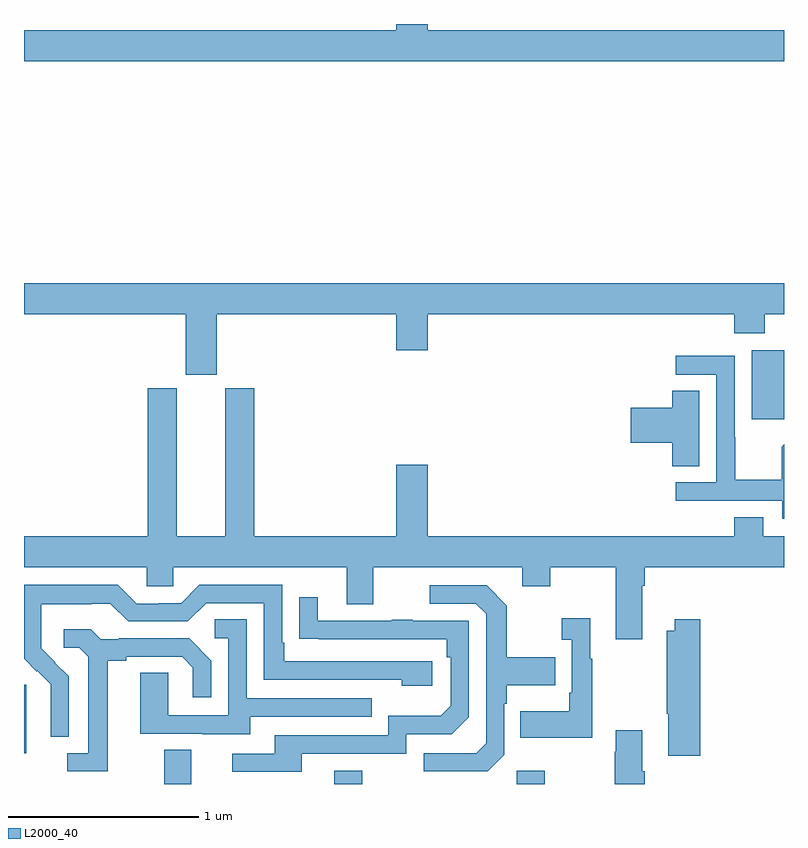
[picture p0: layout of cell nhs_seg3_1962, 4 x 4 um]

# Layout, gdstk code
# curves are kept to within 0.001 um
import gdstk
lib = gdstk.Library(unit=1e-6, precision=1e-09)
def R(c, l, rs):  # rectangles x0, y0, x1, y1
    for r in rs: c.add(gdstk.rectangle(r[:2], r[2:], *l))
def P(c, l, *ps):  # polygons
    for p in ps: c.add(gdstk.Polygon(p, *l))
L2000_40 = (2000, 40)

nhs_seg3_1962 = lib.new_cell('nhs_seg3_1962')
R(nhs_seg3_1962, L2000_40, [(211.739,742.4,211.879,742.58), (212.633,742.4,212.781,742.471), (213.594,742.4,213.741,742.471), (211,742.562,211.012,742.923), (214.829,744.321,215,744.682)])
P(nhs_seg3_1962, L2000_40, [(215,746.368),(213.124,746.368),(213.124,746.4),(212.96,746.4),(212.96,746.368),(211,746.368),(211,746.204),(215,746.204)],
  [(212.014,744.872),(212.96,744.872),(212.96,744.684),(213.124,744.684),(213.124,744.872),(214.739,744.872),(214.739,744.773),(214.899,744.773),(214.899,744.872),(215,744.872),(215,745.036),(211,745.036),(211,744.872),(211.85,744.872),(211.85,744.555),(212.014,744.555)],
  [(215,744.188),(214.987,744.175),(214.987,744.001),(214.743,744.001),(214.743,744.224),(214.74,744.224),(214.74,744.654),(214.431,744.654),(214.431,744.555),(214.644,744.555),(214.644,743.988),(214.431,743.988),(214.431,743.892),(214.992,743.892),(214.992,743.795),(215,743.795)],
  [(214.255,743.444),(214.268,743.444),(214.268,743.54),(215,743.54),(215,743.704),(214.891,743.704),(214.891,743.803),(214.739,743.803),(214.739,743.704),(213.124,743.704),(213.124,744.079),(212.96,744.079),(212.96,743.704),(212.213,743.704),(212.213,744.483),(212.06,744.483),(212.06,743.704),(211.804,743.704),(211.804,744.483),(211.652,744.483),(211.652,743.704),(211,743.704),(211,743.54),(211.647,743.54),(211.647,743.442),(211.785,743.442),(211.785,743.54),(212.699,743.54),(212.699,743.346),(212.839,743.346),(212.839,743.54),(213.623,743.54),(213.623,743.441),(213.771,743.441),(213.771,743.54),(214.115,743.54),(214.115,743.163),(214.255,743.163)],
  [(214.555,744.47),(214.412,744.47),(214.412,744.38),(214.194,744.38),(214.194,744.197),(214.412,744.197),(214.412,744.073),(214.555,744.073)],
  [(211.236,742.966),(211.09,743.114),(211.09,743.211),(211.092,743.211),(211.092,743.345),(211.355,743.345),(211.355,743.349),(211.455,743.349),(211.548,743.256),(211.863,743.256),(211.959,743.352),(212.262,743.352),(212.262,742.95),(212.987,742.95),(212.987,742.916),(213.148,742.916),(213.148,743.046),(212.371,743.046),(212.371,743.143),(212.358,743.143),(212.358,743.448),(211.923,743.448),(211.827,743.352),(211.709,743.352),(211.709,743.349),(211.593,743.349),(211.493,743.449),(211,743.449),(211,743.06),(211.068,742.992),(211.071,742.995),(211.142,742.925),(211.142,742.802),(211.14,742.802),(211.14,742.648),(211.236,742.648)],
  [(213.528,742.554),(213.528,742.823),(213.541,742.823),(213.541,742.919),(213.797,742.919),(213.797,743.067),(213.541,743.067),(213.541,743.339),(213.435,743.445),(213.135,743.445),(213.135,743.349),(213.378,743.349),(213.432,743.295),(213.432,742.614),(213.381,742.563),(213.105,742.563),(213.105,742.467),(213.441,742.467)],
  [(212.461,742.56),(213.012,742.56),(213.012,742.662),(213.252,742.662),(213.342,742.752),(213.342,743.259),(213.047,743.259),(213.047,743.264),(212.935,743.264),(212.935,743.259),(212.545,743.259),(212.545,743.383),(212.449,743.383),(212.449,743.164),(213.226,743.163),(213.226,743.066),(213.246,743.066),(213.246,742.812),(213.193,742.759),(212.916,742.759),(212.916,742.656),(212.321,742.656),(212.321,742.56),(212.097,742.56),(212.097,742.464),(212.461,742.464)],
  [(213.991,743.059),(213.979,743.059),(213.979,743.272),(213.831,743.272),(213.831,743.159),(213.882,743.159),(213.882,742.879),(213.87,742.879),(213.87,742.783),(213.613,742.783),(213.613,742.643),(213.991,742.643)],
  [(212.191,742.755),(212.831,742.755),(212.831,742.851),(212.172,742.851),(212.172,743.267),(212.004,743.267),(212.004,743.166),(212.076,743.166),(212.076,742.761),(211.758,742.761),(211.758,742.985),(211.613,742.985),(211.613,742.665),(211.937,742.665),(211.937,742.661),(212.191,742.661)],
  [(214.559,743.266),(214.424,743.266),(214.424,743.206),(214.384,743.206),(214.384,742.771),(214.391,742.771),(214.391,742.548),(214.559,742.548)],
  [(211.441,743.048),(211.537,743.048),(211.537,743.07),(211.832,743.07),(211.889,743.013),(211.889,742.857),(211.986,742.857),(211.986,743.05),(211.87,743.166),(211.498,743.166),(211.498,743.163),(211.404,743.163),(211.352,743.215),(211.209,743.215),(211.209,743.118),(211.29,743.118),(211.337,743.071),(211.337,742.563),(211.227,742.563),(211.227,742.467),(211.441,742.467)],
  [(214.268,742.468),(214.255,742.468),(214.255,742.684),(214.115,742.684),(214.115,742.571),(214.108,742.571),(214.108,742.4),(214.268,742.4)])

lib.write_gds('nhs_seg3_1962.gds')
